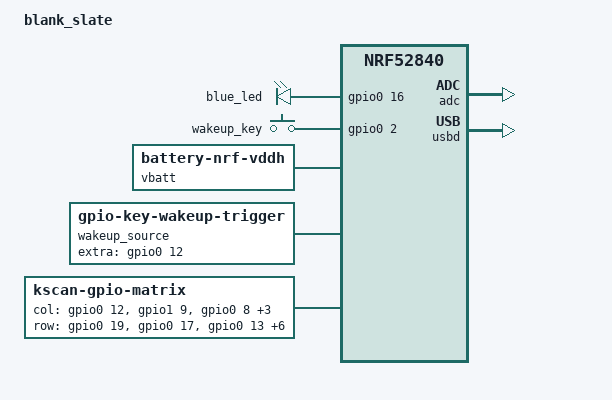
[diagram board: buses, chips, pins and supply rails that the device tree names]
/*
 * Copyright (c) 2022 Pete Johanson
 *
 * SPDX-License-Identifier: MIT
 */

/dts-v1/;
#include <nordic/nrf52840_qiaa.dtsi>
#include <dt-bindings/zmk/matrix_transform.h>

/ {
	model = "blank_slate";
	compatible = "lpgalaxy,blank_slate";

	chosen {
		zephyr,code-partition = &code_partition;
		zephyr,sram = &sram0;
		zephyr,flash = &flash0;
		zmk,kscan = &side_band_behavior_triggers;
		zmk,battery = &vbatt;
	};

	aliases {
		led0 = &blue_led;
	};


	behaviors {
		hw_soft_off: behavior_hw_soft_off {
			compatible = "zmk,behavior-soft-off";
			#binding-cells = <0>;
			hold-time-ms = <1000>;
		};
	};

	side_band_behavior_triggers: side_band_behavior_triggers {
		compatible = "zmk,kscan-sideband-behaviors";
		wakeup-source;
		kscan = <&kscan>;
		soft_off {
			column = <0>;
			row = <8>;
			bindings = <&hw_soft_off>;
		};
	};

	leds {
		compatible = "gpio-leds";
		blue_led: led_0 {
			gpios = <&gpio0 16 GPIO_ACTIVE_HIGH>;
		};
	};

	keys {
		compatible = "gpio-keys";
		wakeup_key: wakeup_key {
			gpios = <&gpio0 2 (GPIO_ACTIVE_HIGH | GPIO_PULL_DOWN)>;
		};
	};

	vbatt: vbatt {
		compatible = "zmk,battery-nrf-vddh";
	};

	wakeup_source: wakeup_source {
		compatible = "zmk,gpio-key-wakeup-trigger";

		trigger = <&wakeup_key>;
		wakeup-source;
		extra-gpios 
			= <&gpio0 12 GPIO_ACTIVE_HIGH>
			;
	};

	soft_off_wakers {
		compatible = "zmk,soft-off-wakeup-sources";
		wakeup-sources = <&wakeup_source>;
	};

	kscan: kscan {
		compatible = "zmk,kscan-gpio-matrix";
		wakeup-source;
		debounce-press-ms = <1>;
		debounce-release-ms = <5>;

		diode-direction = "col2row";

		col-gpios
			= <&gpio0 12 (GPIO_ACTIVE_HIGH)>
			, <&gpio1 9  (GPIO_ACTIVE_HIGH)>
			, <&gpio0 8  (GPIO_ACTIVE_HIGH)>
			, <&gpio1 8  (GPIO_ACTIVE_HIGH)>
			, <&gpio0 11 (GPIO_ACTIVE_HIGH)>
			, <&gpio0 6  (GPIO_ACTIVE_HIGH)>
			;
		row-gpios
			= <&gpio0 19 (GPIO_ACTIVE_HIGH | GPIO_PULL_DOWN)>
			, <&gpio0 17 (GPIO_ACTIVE_HIGH | GPIO_PULL_DOWN)>
			, <&gpio0 13 (GPIO_ACTIVE_HIGH | GPIO_PULL_DOWN)>
			, <&gpio0 21 (GPIO_ACTIVE_HIGH | GPIO_PULL_DOWN)>
			, <&gpio0 27 (GPIO_ACTIVE_HIGH | GPIO_PULL_DOWN)>
			, <&gpio0 5  (GPIO_ACTIVE_HIGH | GPIO_PULL_DOWN)>
			, <&gpio0 26 (GPIO_ACTIVE_HIGH | GPIO_PULL_DOWN)>
			, <&gpio0 4  (GPIO_ACTIVE_HIGH | GPIO_PULL_DOWN)>
			, <&gpio0 2 (GPIO_ACTIVE_HIGH | GPIO_PULL_DOWN)>
			;
	};
};



&adc {
	status = "okay";
};

&gpiote {
	status = "okay";
};

&gpio0 {
	status = "okay";
};

&gpio1 {
	status = "okay";
};


zephyr_udc0: &usbd {
	status = "okay";
}; 


&flash0 {
	/*
	 * For more information, see:
	 * http://docs.zephyrproject.org/latest/devices/dts/flash_partitions.html
	 */
	partitions {
		compatible = "fixed-partitions";
		#address-cells = <1>;
		#size-cells = <1>;

		sd_partition: partition@0 {
			reg = <0x00000000 0x00001000>;
		};
		code_partition: partition@1000 {
			reg = <0x00001000 0x000d3000>;
		};

		storage_partition: partition@d4000 {
			reg = <0x000d4000 0x00020000>;
		};

		boot_partition: partition@f4000 {
			reg = <0x000f4000 0x0000c000>;
		};
	};
};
